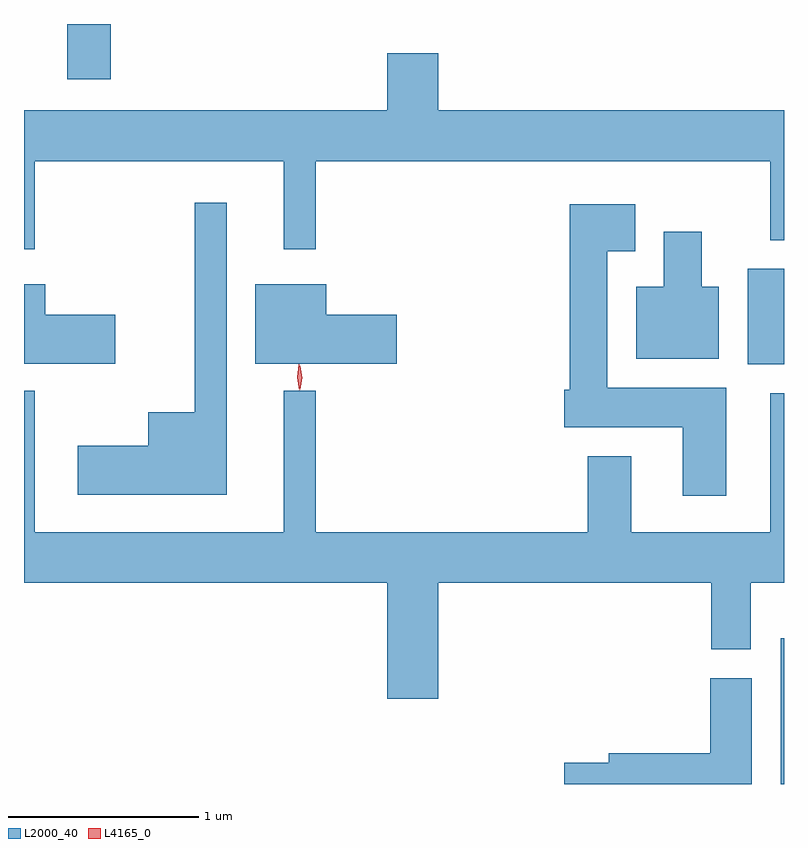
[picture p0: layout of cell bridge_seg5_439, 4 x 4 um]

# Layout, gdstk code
import gdstk
lib = gdstk.Library(unit=1e-6, precision=1e-09)
def R(c, l, rs):  # rectangles x0, y0, x1, y1
    for r in rs: c.add(gdstk.rectangle(r[:2], r[2:], *l))
def P(c, l, *ps):  # polygons
    for p in ps: c.add(gdstk.Polygon(p, *l))
L2000_40 = (2000, 40)
L4165_0 = (4165, 0)

bridge_seg5_439 = lib.new_cell('bridge_seg5_439')
R(bridge_seg5_439, L2000_40, [(257.106,1517.898,257.123,1518.664), (256.931,1520.106,257.123,1520.609), (253.351,1521.606,253.579,1521.898)])
P(bridge_seg5_439, L2000_40, [(253.179,1521.176),(254.491,1521.176),(254.491,1520.713),(254.659,1520.713),(254.659,1521.176),(257.051,1521.176),(257.051,1520.761),(257.123,1520.761),(257.123,1521.444),(255.304,1521.444),(255.304,1521.744),(255.036,1521.744),(255.036,1521.444),(253.123,1521.444),(253.123,1520.713),(253.179,1520.713)],
  [(254.189,1520.958),(254.021,1520.958),(254.021,1519.854),(253.776,1519.854),(253.776,1519.679),(253.406,1519.679),(253.406,1519.421),(254.189,1519.421)],
  [(256.819,1519.984),(256.194,1519.984),(256.194,1520.701),(256.339,1520.701),(256.339,1520.949),(255.996,1520.949),(255.996,1519.974),(255.966,1519.974),(255.966,1519.776),(256.591,1519.776),(256.591,1519.416),(256.819,1519.416)],
  [(256.779,1520.514),(256.689,1520.514),(256.689,1520.804),(256.491,1520.804),(256.491,1520.514),(256.346,1520.514),(256.346,1520.136),(256.779,1520.136)],
  [(253.604,1520.369),(253.234,1520.369),(253.234,1520.529),(253.123,1520.529),(253.123,1520.111),(253.604,1520.111)],
  [(255.084,1520.369),(254.714,1520.369),(254.714,1520.529),(254.341,1520.529),(254.341,1520.111),(255.084,1520.111)],
  [(255.304,1518.956),(256.741,1518.956),(256.741,1518.606),(256.949,1518.606),(256.949,1518.956),(257.123,1518.956),(257.123,1519.954),(257.051,1519.954),(257.051,1519.224),(256.319,1519.224),(256.319,1519.624),(256.091,1519.624),(256.091,1519.224),(254.659,1519.224),(254.659,1519.968),(254.491,1519.968),(254.491,1519.224),(253.179,1519.224),(253.179,1519.968),(253.123,1519.968),(253.123,1518.956),(255.036,1518.956),(255.036,1518.346),(255.304,1518.346)],
  [(256.954,1518.454),(256.736,1518.454),(256.736,1518.059),(256.201,1518.059),(256.201,1518.009),(255.966,1518.009),(255.966,1517.898),(256.954,1517.898)])
P(bridge_seg5_439, L4165_0, [(254.571,1519.97),(254.561,1520.038),(254.57,1520.106),(254.57,1520.106),(254.571,1520.106),(254.581,1520.038),(254.572,1519.97),(254.572,1519.97)],
  [(254.577,1519.973),(254.577,1519.974),(254.567,1520.036),(254.577,1520.099),(254.577,1520.1),(254.578,1520.099),(254.587,1520.036),(254.578,1519.974)])

lib.write_gds('bridge_seg5_439.gds')
